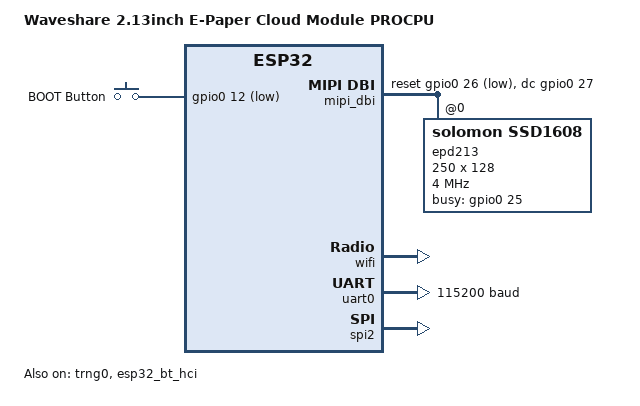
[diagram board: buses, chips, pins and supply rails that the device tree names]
/*
 *
 * SPDX-License-Identifier: Apache-2.0
 */
/dts-v1/;

#include <espressif/esp32/esp32_d0wd_v3.dtsi>
#include "waveshare_2_13inch_epaper_cloud_module-pinctrl.dtsi"
#include <zephyr/dt-bindings/input/input-event-codes.h>
#include <espressif/partitions_0x1000_amp.dtsi>

/ {
	model = "Waveshare 2.13inch E-Paper Cloud Module PROCPU";
	compatible = "waveshare,2_13inch_epaper_cloud_module";

	aliases {
		uart-0 = &uart0;
		watchdog0 = &wdt0;
		sw0 = &button0;
	};

	buttons {
		compatible = "gpio-keys";
		button0: button_0 {
			gpios = <&gpio0 12 (GPIO_PULL_UP | GPIO_ACTIVE_LOW)>;
			label = "BOOT Button";
			zephyr,code = <INPUT_KEY_0>;
		};
	};

	mipi_dbi {
		compatible = "zephyr,mipi-dbi-spi";
		spi-dev = <&spi2>;
		dc-gpios = <&gpio0 27 GPIO_ACTIVE_HIGH>;
		reset-gpios = <&gpio0 26 GPIO_ACTIVE_LOW>;
		write-only;
		#address-cells = <1>;
		#size-cells = <0>;

		epd213: ssd16xx@0 {
			status = "okay";
			compatible = "solomon,ssd1608";
			reg = <0>;
			mipi-max-frequency = <4000000>;
			width = <250>;
			height = <128>;
            busy-gpios = <&gpio0 25 GPIO_ACTIVE_HIGH>;
            tssv = <0x80>;

			full {
                gdv = [15];
				sdv = [41 a8 32];
				border-waveform = <0x05>;
                vcom = <0x55>;
				gate-line-width = <0x08>;
                dummy-line = <0x1a>;
			};
                        
			partial {
				gdv = [15];
				sdv = [41 a8 32];
				vcom = <0x26>;
				border-waveform = <0x01>;
				dummy-line = <0x30>;
				gate-line-width = <0x0a>;
				/* TODO: LUT for partial refresh */
			};
                        
		};
	};
		

	chosen {
		zephyr,sram = &sram1;
		zephyr,console = &uart0;
		zephyr,shell-uart = &uart0;
		zephyr,flash = &flash0;
		zephyr,code-partition = &slot0_partition;
		zephyr,bt-hci = &esp32_bt_hci;
		zephyr,display = &epd213;
	};
};

&flash0 {
	reg = <0x0 DT_SIZE_M(4)>;
};

&gpio0 {
        gpio-reserved-ranges = <6 6>, <20 1>, <24 1>, <28 4>;
};

&gpio1 {
        gpio-reserved-ranges = <5 2>; // GPIO37-38 NC
};

&trng0 {
	status = "okay";
};

&esp32_bt_hci {
	status = "okay";
};

&wifi {
	status = "okay";
};

&uart0 {
	status = "okay";
	current-speed = <115200>;
	pinctrl-0 = <&uart0_default>;
	pinctrl-names = "default";
};

&spi2 {
	#address-cells = <1>;
	#size-cells = <0>;
	status = "okay";
	pinctrl-0 = <&spim2_default>;
	pinctrl-names = "default";
	cs-gpios = <&gpio0 15 GPIO_ACTIVE_LOW>;
};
